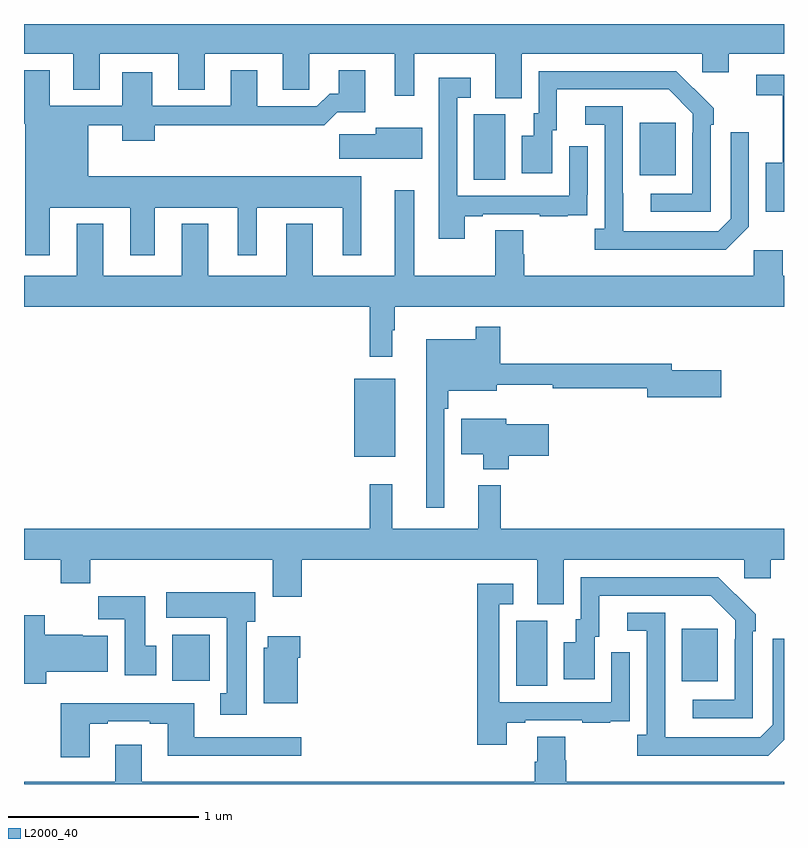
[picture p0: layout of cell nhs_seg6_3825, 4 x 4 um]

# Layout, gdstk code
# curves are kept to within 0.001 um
import gdstk
lib = gdstk.Library(unit=1e-6, precision=1e-09)
def R(c, l, rs):  # rectangles x0, y0, x1, y1
    for r in rs: c.add(gdstk.rectangle(r[:2], r[2:], *l))
def P(c, l, *ps):  # polygons
    for p in ps: c.add(gdstk.Polygon(p, *l))
L2000_40 = (2000, 40)

nhs_seg6_3825 = lib.new_cell('nhs_seg6_3825')
R(nhs_seg6_3825, L2000_40, [(339.59,936.016,339.754,936.36), (340.463,936.041,340.651,936.316), (337.781,936.044,337.978,936.286), (338.738,937.223,338.953,937.633), (339.368,938.68,339.532,939.024), (340.241,938.705,340.429,938.98)])
P(nhs_seg6_3825, L2000_40, [(339.619,939.344),(340.569,939.344),(340.569,939.246),(340.708,939.246),(340.708,939.344),(341,939.344),(341,939.5),(337,939.5),(337,939.344),(337.259,939.344),(337.259,939.154),(337.399,939.154),(337.399,939.344),(337.811,939.344),(337.811,939.154),(337.951,939.154),(337.951,939.344),(338.363,939.344),(338.363,939.154),(338.502,939.154),(338.502,939.344),(338.951,939.344),(338.951,939.123),(339.055,939.123),(339.055,939.344),(339.479,939.344),(339.479,939.109),(339.619,939.109)],
  [(337.135,938.534),(337.559,938.534),(337.559,938.283),(337.687,938.283),(337.687,938.534),(338.126,938.534),(338.126,938.283),(338.224,938.283),(338.224,938.534),(338.678,938.534),(338.678,938.283),(338.776,938.283),(338.776,938.698),(337.339,938.698),(337.339,938.968),(337.517,938.968),(337.517,938.885),(337.688,938.885),(337.688,938.968),(338.323,938.968),(338.323,938.966),(338.579,938.966),(338.648,939.035),(338.797,939.035),(338.797,939.256),(338.657,939.256),(338.657,939.133),(338.608,939.133),(338.541,939.066),(338.227,939.066),(338.227,939.256),(338.087,939.256),(338.087,939.069),(337.675,939.069),(337.675,939.247),(337.517,939.247),(337.517,939.069),(337.135,939.069),(337.135,939.256),(337,939.256),(337,938.976),(337.007,938.976),(337.007,938.283),(337.135,938.283)],
  [(340.614,938.969),(340.629,938.969),(340.629,939.057),(340.432,939.252),(339.708,939.252),(339.708,939.03),(339.683,939.03),(339.683,938.911),(339.62,938.911),(339.62,938.715),(339.781,938.715),(339.781,938.94),(339.805,938.94),(339.805,939.156),(340.393,939.156),(340.521,939.027),(340.521,938.927),(340.518,938.927),(340.518,938.607),(340.299,938.607),(340.299,938.511),(340.614,938.511)],
  [(341,939.234),(340.854,939.234),(340.854,939.126),(340.994,939.126),(340.994,938.77),(340.904,938.77),(340.904,938.513),(341,938.513)],
  [(339.319,938.487),(339.415,938.487),(339.415,938.499),(339.715,938.499),(339.715,938.487),(339.863,938.487),(339.863,938.493),(339.965,938.493),(339.965,938.602),(339.966,938.602),(339.966,938.857),(339.87,938.857),(339.87,938.595),(339.279,938.595),(339.279,939.111),(339.352,939.111),(339.352,939.217),(339.183,939.217),(339.183,938.37),(339.319,938.37)],
  [(340.815,938.433),(340.815,938.929),(340.719,938.929),(340.719,938.475),(340.653,938.409),(340.153,938.409),(340.152,939.066),(339.954,939.066),(339.954,938.97),(340.056,938.97),(340.056,938.422),(340.005,938.422),(340.005,938.312),(340.694,938.312)],
  [(339.097,938.953),(338.852,938.953),(338.852,938.921),(338.658,938.921),(338.658,938.792),(339.097,938.792)],
  [(338.938,937.889),(338.95,937.889),(338.95,938.012),(341,938.012),(341,938.176),(340.994,938.176),(340.994,938.308),(340.842,938.308),(340.842,938.176),(339.632,938.176),(339.632,938.289),(339.627,938.289),(339.627,938.414),(339.479,938.414),(339.479,938.176),(339.055,938.176),(339.055,938.626),(338.951,938.626),(338.951,938.176),(338.521,938.176),(338.521,938.449),(338.381,938.449),(338.381,938.176),(337.969,938.176),(337.969,938.449),(337.829,938.449),(337.829,938.176),(337.417,938.176),(337.417,938.449),(337.277,938.449),(337.277,938.176),(337,938.176),(337,938.012),(338.821,938.012),(338.821,937.749),(338.938,937.749)],
  [(339.213,937.475),(339.233,937.475),(339.233,937.571),(339.487,937.571),(339.487,937.601),(339.783,937.601),(339.783,937.582),(340.28,937.582),(340.28,937.535),(340.669,937.535),(340.669,937.677),(340.408,937.677),(340.408,937.711),(339.506,937.711),(339.506,937.906),(339.378,937.906),(339.378,937.84),(339.116,937.84),(339.116,936.954),(339.213,936.954)],
  [(339.551,937.228),(339.763,937.228),(339.763,937.393),(339.538,937.393),(339.538,937.423),(339.302,937.423),(339.302,937.235),(339.416,937.235),(339.416,937.157),(339.551,937.157)],
  [(339.841,936.68),(340.791,936.68),(340.791,936.582),(340.93,936.582),(340.93,936.68),(341,936.68),(341,936.844),(339.509,936.844),(339.509,937.072),(339.392,937.072),(339.392,936.844),(338.939,936.844),(338.939,937.078),(338.821,937.078),(338.821,936.844),(337,936.844),(337,936.68),(337.193,936.68),(337.193,936.556),(337.349,936.556),(337.349,936.68),(338.309,936.68),(338.309,936.486),(338.462,936.486),(338.462,936.68),(339.701,936.68),(339.701,936.445),(339.841,936.445)],
  [(340.836,936.305),(340.851,936.305),(340.851,936.393),(340.654,936.588),(339.93,936.588),(339.93,936.366),(339.905,936.366),(339.905,936.247),(339.842,936.247),(339.842,936.051),(340.003,936.051),(340.003,936.276),(340.027,936.276),(340.027,936.492),(340.615,936.492),(340.743,936.363),(340.743,936.263),(340.74,936.263),(340.74,935.943),(340.521,935.943),(340.521,935.847),(340.836,935.847)],
  [(339.541,935.823),(339.637,935.823),(339.637,935.835),(339.937,935.835),(339.937,935.823),(340.085,935.823),(340.085,935.829),(340.187,935.829),(340.187,935.938),(340.188,935.938),(340.188,936.193),(340.092,936.193),(340.092,935.931),(339.501,935.931),(339.501,936.447),(339.574,936.447),(339.574,936.553),(339.385,936.553),(339.385,935.706),(339.541,935.706)],
  [(338.173,936.354),(338.218,936.354),(338.218,936.508),(337.749,936.508),(337.749,936.374),(338.066,936.374),(338.066,935.978),(338.033,935.978),(338.033,935.865),(338.173,935.865)],
  [(337.696,936.228),(337.639,936.228),(337.639,936.487),(337.39,936.487),(337.39,936.368),(337.529,936.368),(337.529,936.072),(337.696,936.072)],
  [(341,935.732),(341,936.265),(340.941,936.265),(340.941,935.811),(340.875,935.745),(340.375,935.745),(340.374,936.402),(340.176,936.402),(340.176,936.306),(340.278,936.306),(340.278,935.758),(340.227,935.758),(340.227,935.648),(340.916,935.648)],
  [(337.116,936.092),(337.441,936.092),(337.441,936.28),(337.308,936.28),(337.308,936.286),(337.108,936.286),(337.108,936.388),(337,936.388),(337,936.027),(337.116,936.027)],
  [(338.44,936.164),(338.453,936.164),(338.453,936.277),(338.282,936.277),(338.282,936.216),(338.261,936.216),(338.261,935.924),(338.44,935.924)],
  [(337.345,935.817),(337.441,935.817),(337.441,935.829),(337.661,935.829),(337.661,935.817),(337.757,935.817),(337.757,935.648),(338.458,935.648),(338.458,935.745),(337.897,935.745),(337.897,935.926),(337.193,935.926),(337.193,935.64),(337.345,935.64)],
  [(341,935.512),(339.854,935.512),(339.854,935.625),(339.849,935.625),(339.849,935.75),(339.701,935.75),(339.701,935.618),(339.689,935.618),(339.689,935.512),(337.621,935.512),(337.621,935.707),(337.481,935.707),(337.481,935.512),(337,935.512),(337,935.5),(341,935.5)])

lib.write_gds('nhs_seg6_3825.gds')
